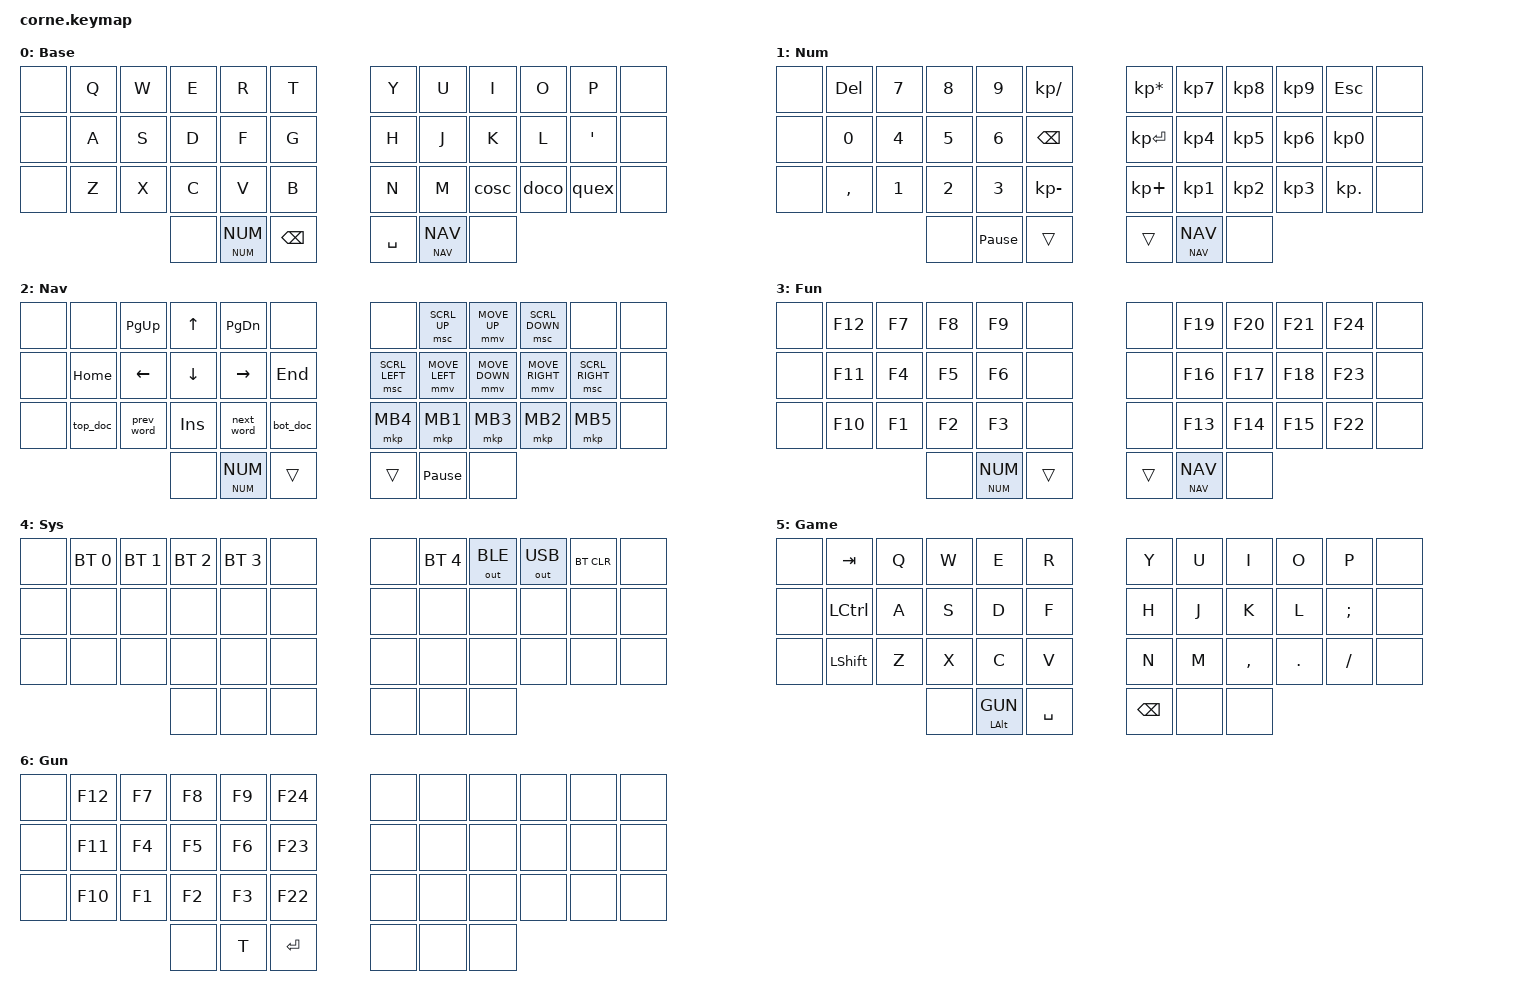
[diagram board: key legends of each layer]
#include <behaviors.dtsi>
#include <dt-bindings/zmk/keys.h>
#include <dt-bindings/zmk/bt.h>
#include <dt-bindings/zmk/outputs.h>
#include <dt-bindings/zmk/pointing.h>

#define BASE 0
#define NUM  1
#define NAV  2
#define FUN  3
#define SYS  4
#define GAME 5
#define GUN  6

#define XXX &none
#define ___ &trans

#define SMART_NUM &smart_num NUM NUM
#define SMART_NAV &smart_nav NAV NAV
#define SMART_FUN &smart_fun FUN FUN
#define SMART_GUN &smart_gun LALT GUN

&caps_word {
	continue-list = <UNDER MINUS SQT BSPC>;	
};

/ {
    macros {

	//	GENERAL SHORTCUTS
        copy: CTRL_C {
            compatible = "zmk,behavior-macro";
            #binding-cells = <0>;
            bindings
                = <&macro_press &kp LCTRL>
				, <&macro_tap &kp C>
                , <&macro_release &kp LCTRL>;
        };
        paste: CTRL_V {
            compatible = "zmk,behavior-macro";
            #binding-cells = <0>;
            bindings
                = <&macro_press &kp LCTRL &kp V>
                , <&macro_pause_for_release>
                , <&macro_release &kp V &kp LCTRL>;
        };
        cut: CTRL_X {
            compatible = "zmk,behavior-macro";
            #binding-cells = <0>;
            bindings
                = <&macro_press &kp LCTRL>
				, <&macro_tap &kp X>
                , <&macro_release &kp LCTRL>;
        };
		redo: CTRL_SHIFT_Z {
            compatible = "zmk,behavior-macro";
            #binding-cells = <0>;
            bindings
                = <&macro_press &kp RCTRL &kp RSHFT &kp Z>
                , <&macro_pause_for_release>
                , <&macro_release &kp Z &kp RSHFT &kp RCTRL>;
        };
		apps: CTRL_ALT_TAB {
            compatible = "zmk,behavior-macro";
            #binding-cells = <0>;
            bindings
                = <&macro_press &kp RCTRL &kp RALT>
				, <&macro_tap &kp TAB>
                , <&macro_release &kp RALT &kp RCTRL>;
        };
		undo: CTRL_Z {
            compatible = "zmk,behavior-macro";
            #binding-cells = <0>;
            bindings
                = <&macro_press &kp RCTRL &kp Z>
                , <&macro_pause_for_release>
                , <&macro_release &kp Z &kp RCTRL>;
        };

	//	NAVIGATION LAYER SHORTCUTS
        top_doc: CTRL_HOME {
            compatible = "zmk,behavior-macro";
            #binding-cells = <0>;
            bindings
                = <&macro_press &kp LCTRL>
				, <&macro_tap &kp HOME>
                , <&macro_release &kp LCTRL>;
        };
		bot_doc: CTRL_END {
            compatible = "zmk,behavior-macro";
            #binding-cells = <0>;
            bindings
                = <&macro_press &kp LCTRL>
				, <&macro_tap &kp END>
                , <&macro_release &kp LCTRL>;
		};
		prev_word: CTRL_LEFT {
            compatible = "zmk,behavior-macro";
            #binding-cells = <0>;
            bindings
                = <&macro_press &kp LCTRL &kp LEFT>
                , <&macro_pause_for_release>
                , <&macro_release &kp LEFT &kp LCTRL>;
		};
		next_word: CTRL_RIGHT {
            compatible = "zmk,behavior-macro";
            #binding-cells = <0>;
            bindings
                = <&macro_press &kp LCTRL &kp RIGHT>
                , <&macro_pause_for_release>
                , <&macro_release &kp RIGHT &kp LCTRL>;
		};

	//	SWITCH SMART LAYER
		swto: switch_to_layer {
            compatible = "zmk,behavior-macro-one-param";
            #binding-cells = <1>;
            bindings
                = <&macro_tap &kp PAUSE_BREAK>
				, <&macro_param_1to1>
				, <&macro_tap &to 0>;
		};
		swmo: switch_to_momentary_layer {
            compatible = "zmk,behavior-macro-one-param";
            #binding-cells = <1>;
            bindings
                = <&macro_tap &kp PAUSE_BREAK>
				, <&macro_param_1to1>
				, <&macro_press &mo 0>
                , <&macro_pause_for_release>
				, <&macro_param_1to1>
                , <&macro_release &mo 0>;
		};
		snmw: switch_to_num_word {
            compatible = "zmk,behavior-macro-one-param";
            #binding-cells = <1>;
            bindings
                = <&macro_tap &kp PAUSE_BREAK>
				, <&macro_param_1to1>
				, <&macro_tap &num_word 0>;
		};
		snvw: switch_to_nav_word {
            compatible = "zmk,behavior-macro-one-param";
            #binding-cells = <1>;
            bindings
                = <&macro_tap &kp PAUSE_BREAK>
				, <&macro_param_1to1>
				, <&macro_tap &nav_word 0>;
		};
		sfnw: switch_to_fun_word {
            compatible = "zmk,behavior-macro-one-param";
            #binding-cells = <1>;
            bindings
                = <&macro_tap &kp PAUSE_BREAK>
				, <&macro_param_1to1>
				, <&macro_tap &fun_word 0>;
		};
	};

	behaviors {

	//	SMART LAYERS
		num_word: number_layer_word {
			compatible = "zmk,behavior-auto-layer";
			#binding-cells = <1>;
			continue-list = <N1 N2 N3 N4 N5 N6 N7 N8 N9 N0 KP_N1 KP_N2 KP_N3 KP_N4 KP_N5 KP_N6 KP_N7 KP_N8 KP_N9 KP_N0	\
							 COMMA DEL BSPC ENTER ESC	   KP_MINUS KP_PLUS KP_DIVIDE KP_MULTIPLY KP_ENTER KP_DOT		\
							 EQUAL SLASH PRCNT HASH STAR CARET LPAR RPAR LBKT RBKT MINUS PLUS AT PIPE>;
			ignore-modifiers;
		};
		smart_num: number_layer_hold_tap {
			compatible = "zmk,behavior-hold-tap";
			#binding-cells = <2>;
            flavor = "hold-preferred";
            tapping-term-ms = <175>;
			bindings = <&swmo>, <&snmw>;
		};
		nav_word: navigation_layer_word {
			compatible = "zmk,behavior-auto-layer";
			#binding-cells = <1>;
			continue-list = <LEFT DOWN UP RIGHT PG_DN PG_UP HOME END>;
			ignore-modifiers;
		};
		smart_nav: navigation_layer_hold_tap {
			compatible = "zmk,behavior-hold-tap";
			#binding-cells = <2>;
            flavor = "hold-preferred";
            tapping-term-ms = <175>;
			bindings = <&swmo>, <&snvw>;
		};
		fun_word: function_layer_word {
			compatible = "zmk,behavior-auto-layer";
			#binding-cells = <1>;
			continue-list = <0>;
			ignore-modifiers;
		};
		smart_fun: function_layer_hold_tap {
			compatible = "zmk,behavior-hold-tap";
			#binding-cells = <2>;
            flavor = "hold-preferred";
            tapping-term-ms = <175>;
			bindings = <&swmo>, <&sfnw>;
		};
		gun_word: game_function_layer_word {
			compatible = "zmk,behavior-auto-layer";
			#binding-cells = <1>;
			continue-list = <0>;
		};
		smart_gun: game_function_layer_hold_tap {
			compatible = "zmk,behavior-hold-tap";
			#binding-cells = <2>;
            flavor = "hold-preferred";
            tapping-term-ms = <175>;
			bindings = <&kp>, <&gun_word>;
		};

	//	STICKY KEYS
		skqr: sticky_key_quick_release {
			compatible = "zmk,behavior-sticky-key";
			#binding-cells = <1>;
			bindings = <&kp>;
			release-after-ms = <1000>;
			quick-release;
			ignore-modifiers;
      };
		skql: sticky_key_quick_release_lazy {
			compatible = "zmk,behavior-sticky-key";
			#binding-cells = <1>;
			bindings = <&kp>;
			release-after-ms = <1000>;
			quick-release;
			lazy;
			ignore-modifiers;
      };

	//	SYMBOL MORPHS
		cosc: comma_semicolon {
            compatible = "zmk,behavior-mod-morph";
            #binding-cells = <0>;
            bindings = <&kp COMMA>, <&kp SEMI>;
            mods = <(MOD_LSFT|MOD_RSFT)>;
        };
		doco: dot_colon {
            compatible = "zmk,behavior-mod-morph";
            #binding-cells = <0>;
            bindings = <&kp DOT>, <&kp COLON>;
            mods = <(MOD_LSFT|MOD_RSFT)>;
        };
		quex: question_exclamation {
            compatible = "zmk,behavior-mod-morph";
            #binding-cells = <0>;
            bindings = <&kp QMARK>, <&kp EXCL>;
            mods = <(MOD_LSFT|MOD_RSFT)>;
        };
		eqti: equal_tilde {
            compatible = "zmk,behavior-mod-morph";
            #binding-cells = <0>;
            bindings = <&kp EQUAL >, <&kp TILDE>;
            mods = <(MOD_LSFT|MOD_RSFT)>;
        };
		slpe: slash_percent {
            compatible = "zmk,behavior-mod-morph";
            #binding-cells = <0>;
            bindings = <&kp SLASH>, <&kp PRCNT>;
            mods = <(MOD_LSFT|MOD_RSFT)>;
        };
		bsgr: backslash_grave {
            compatible = "zmk,behavior-mod-morph";
            #binding-cells = <0>;
            bindings = <&kp BSLH>, <&kp GRAVE>;
            mods = <(MOD_LSFT|MOD_RSFT)>;
        };
		hast: hash_star {
            compatible = "zmk,behavior-mod-morph";
            #binding-cells = <0>;
            bindings = <&kp HASH>, <&kp STAR>;
            mods = <(MOD_LSFT|MOD_RSFT)>;
        };
		usca: underscore_caret {
            compatible = "zmk,behavior-mod-morph";
            #binding-cells = <0>;
            bindings = <&kp UNDER>, <&kp CARET>;
            mods = <(MOD_LSFT|MOD_RSFT)>;
        };
		lplb: leftparenthesis_leftbracket {
            compatible = "zmk,behavior-mod-morph";
            #binding-cells = <0>;
            bindings = <&kp LPAR>, <&kp LBKT>;
            mods = <(MOD_LSFT|MOD_RSFT)>;
        };
		rprb: rightparenthesis_rightbracket {
            compatible = "zmk,behavior-mod-morph";
            #binding-cells = <0>;
            bindings = <&kp RPAR>, <&kp RBKT>;
            mods = <(MOD_LSFT|MOD_RSFT)>;
        };
		mipl: minus_plus {
            compatible = "zmk,behavior-mod-morph";
            #binding-cells = <0>;
            bindings = <&kp MINUS>, <&kp PLUS>;
            mods = <(MOD_LSFT|MOD_RSFT)>;
        };
		asat: ampersand_at {
            compatible = "zmk,behavior-mod-morph";
            #binding-cells = <0>;
            bindings = <&kp AMPS>, <&kp AT>;
            mods = <(MOD_LSFT|MOD_RSFT)>;
        };
		ltlb: lessthan_leftbrace {
            compatible = "zmk,behavior-mod-morph";
            #binding-cells = <0>;
            bindings = <&kp LT>, <&kp LBRC>;
            mods = <(MOD_LSFT|MOD_RSFT)>;
        };
		gtrb: greaterthan_rightbrace {
            compatible = "zmk,behavior-mod-morph";
            #binding-cells = <0>;
            bindings = <&kp GT>, <&kp RBRC>;
            mods = <(MOD_LSFT|MOD_RSFT)>;
        };
		pido: pipe_dollar {
            compatible = "zmk,behavior-mod-morph";
            #binding-cells = <0>;
            bindings = <&kp PIPE>, <&kp DLLR>;
            mods = <(MOD_LSFT|MOD_RSFT)>;
        };
    };

	combos {
		compatible = "zmk,combos";

	//	SYMBOL COMBOS
		combo_equal_tilde {
			timeout-ms = <50>;
			require-prior-idle-ms = <100>;
			key-positions = <2 3>;
			layers = <BASE NUM FUN>;
			bindings = <&eqti>;
		};
		combo_slash_percent {
			timeout-ms = <50>;
			require-prior-idle-ms = <100>;
			key-positions = <3 4>;
			layers = <BASE NUM FUN>;
			bindings = <&slpe>;
		};
		combo_backslash_grave {
			timeout-ms = <50>;
			require-prior-idle-ms = <100>;
			key-positions = <7 8>;
			layers = <BASE NUM FUN>;
			bindings = <&bsgr>;
		};
		combo_hash_star {
			timeout-ms = <50>;
			require-prior-idle-ms = <100>;
			key-positions = <8 9>;
			layers = <BASE NUM FUN>;
			bindings = <&hast>;
		};
		combo_underscore_caret {
			timeout-ms = <50>;
			require-prior-idle-ms = <100>;
			key-positions = <14 15>;
			layers = <BASE NUM FUN>;
			bindings = <&usca>;
		};
		combo_leftparenthesis_leftbracket {
			timeout-ms = <50>;
			require-prior-idle-ms = <100>;
			key-positions = <15 16>;
			layers = <BASE NUM FUN>;
			bindings = <&lplb>;
		};
		combo_rightparenthesis_rightbracket {
			timeout-ms = <50>;
			require-prior-idle-ms = <100>;
			key-positions = <19 20>;
			layers = <BASE NUM FUN>;
			bindings = <&rprb>;
		};
		combo_minus_plus {
			timeout-ms = <50>;
			require-prior-idle-ms = <100>;
			key-positions = <20 21>;
			layers = <BASE NUM FUN>;
			bindings = <&mipl>;
		};
		combo_ampersand_at {
			timeout-ms = <50>;
			require-prior-idle-ms = <100>;
			key-positions = <26 27>;
			layers = <BASE NUM FUN>;
			bindings = <&asat>;
		};
		combo_lessthan_leftbrace {
			timeout-ms = <50>;
			require-prior-idle-ms = <100>;
			key-positions = <27 28>;
			layers = <BASE NUM FUN>;
			bindings = <&ltlb>;
		};
		combo_greaterthan_rightbrace {
			timeout-ms = <50>;
			require-prior-idle-ms = <100>;
			key-positions = <31 32>;
			layers = <BASE NUM FUN>;
			bindings = <&gtrb>;
		};
		combo_pipe_dollar {
			timeout-ms = <50>;
			require-prior-idle-ms = <100>;
			key-positions = <32 33>;
			layers = <BASE NUM FUN>;
			bindings = <&pido>;
		};

	//	LAYER COMBOS
		combo_base_layer {
			timeout-ms = <50>;
			require-prior-idle-ms = <100>;
			key-positions = <13 14 15 16>;
			layers = <GAME GUN>;
			bindings = <&swto BASE>;
		};
		combo_function_layer {
			timeout-ms = <50>;
			require-prior-idle-ms = <100>;
			key-positions = <37 40>;
			layers = <BASE NUM NAV>;
			bindings = <SMART_FUN>;
		};
		combo_function_layer_cancel {
			timeout-ms = <50>;
			require-prior-idle-ms = <100>;
			key-positions = <37 40>;
			layers = <FUN>;
			bindings = <&kp PAUSE_BREAK>;
		};
		combo_system_layer {
			timeout-ms = <50>;
			require-prior-idle-ms = <100>;
			key-positions = <38 39>;
			layers = <BASE NUM NAV FUN>;
			bindings = <&swmo SYS>;
		};
		combo_game_layer {
			timeout-ms = <50>;
			require-prior-idle-ms = <100>;
			key-positions = <3 14 16 25>;
			layers = <BASE NUM NAV FUN>;
			bindings = <&swto GAME>;
		};

	//	MODIFIER COMBOS
		combo_left_control {
			timeout-ms = <50>;
			require-prior-idle-ms = <100>;
			key-positions = <16 38>;
			layers = <BASE NUM NAV FUN>;
			bindings = <&skql LCTRL>;
		};
		combo_right_control {
			timeout-ms = <50>;
			require-prior-idle-ms = <100>;
			key-positions = <19 39>;
			layers = <BASE NUM NAV FUN>;
			bindings = <&skql RCTRL>;
		};
		combo_left_shift {
			timeout-ms = <50>;
			require-prior-idle-ms = <100>;
			key-positions = <15 38>;
			layers = <BASE NUM NAV FUN>;
			bindings = <&skqr LSHFT>;
		};
		combo_right_shift {
			timeout-ms = <50>;
			require-prior-idle-ms = <100>;
			key-positions = <20 39>;
			layers = <BASE NUM NAV FUN>;
			bindings = <&skqr RSHFT>;
		};
		combo_caps_word {
			timeout-ms = <50>;
			require-prior-idle-ms = <100>;
			key-positions = <15 20 38 39>;
			layers = <BASE>;
			bindings = <&caps_word>;
		};
		combo_caps_lock {
			timeout-ms = <50>;
			require-prior-idle-ms = <100>;
			key-positions = <19 20 21 22>;
			layers = <BASE>;
			bindings = <&kp CAPS>;
		};
		combo_left_alt {
			timeout-ms = <50>;
			require-prior-idle-ms = <100>;
			key-positions = <14 38>;
			layers = <BASE NUM NAV FUN>;
			bindings = <&skql LALT>;
		};
		combo_right_alt {
			timeout-ms = <50>;
			require-prior-idle-ms = <100>;
			key-positions = <21 39>;
			layers = <BASE NUM NAV FUN>;
			bindings = <&skql RALT>;
		};
		combo_left_gui {
			timeout-ms = <50>;
			require-prior-idle-ms = <100>;
			key-positions = <13 38>;
			layers = <BASE NUM NAV FUN>;
			bindings = <&skql LGUI>;
		};
		combo_right_gui {
			timeout-ms = <50>;
			require-prior-idle-ms = <100>;
			key-positions = <22 39>;
			layers = <BASE NUM NAV FUN>;
			bindings = <&skql RGUI>;
		};
		combo_game_gui {
			timeout-ms = <50>;
			require-prior-idle-ms = <100>;
			key-positions = <14 15 16>;
			layers = <GAME>;
			bindings = <&kp LGUI>;
		};

	//	SHORTCUT COMBOS
		combo_copy {
			timeout-ms = <50>;
			require-prior-idle-ms = <100>;
			key-positions = <2 4>;
			layers = <BASE NUM NAV FUN>;
			bindings = <&copy>;
		};
		combo_paste {
			timeout-ms = <50>;
			require-prior-idle-ms = <100>;
			key-positions = <14 16>;
			layers = <BASE NUM NAV FUN>;
			bindings = <&paste>;
		};
		combo_cut {
			timeout-ms = <50>;
			require-prior-idle-ms = <100>;
			key-positions = <26 28>;
			layers = <BASE NUM NAV FUN>;
			bindings = <&cut>;
		};
		combo_redo {
			timeout-ms = <50>;
			require-prior-idle-ms = <100>;
			key-positions = <7 9>;
			layers = <BASE NUM NAV FUN>;
			bindings = <&redo>;
		};
		combo_apps {
			timeout-ms = <50>;
			require-prior-idle-ms = <100>;
			key-positions = <19 21>;
			layers = <BASE NUM NAV FUN>;
			bindings = <&apps>;
		};
		combo_undo {
			timeout-ms = <50>;
			require-prior-idle-ms = <100>;
			key-positions = <31 33>;
			layers = <BASE NUM NAV FUN>;
			bindings = <&undo>;
		};

	//	KEY PRESS COMBOS
		combo_tab {
			timeout-ms = <50>;
			require-prior-idle-ms = <100>;
			key-positions = <3 16>;
			layers = <BASE NUM NAV FUN>;
			bindings = <&kp TAB>;
		};
		combo_left_enter {
			timeout-ms = <50>;
			require-prior-idle-ms = <100>;
			key-positions = <3 14>;
			layers = <BASE NUM NAV FUN>;
			bindings = <&kp ENTER>;
		};
		combo_right_enter {
			timeout-ms = <50>;
			require-prior-idle-ms = <100>;
			key-positions = <8 19>;
			layers = <BASE NUM NAV FUN>;
			bindings = <&kp ENTER>;
		};
		combo_escape {
			timeout-ms = <50>;
			require-prior-idle-ms = <100>;
			key-positions = <8 21>;
			layers = <BASE NUM NAV FUN>;
			bindings = <&kp ESC>;
		};
		combo_game_escape {
			timeout-ms = <50>;
			require-prior-idle-ms = <100>;
			key-positions = <3 14 16>;
			layers = <GAME GUN>;
			bindings = <&kp ESC>;
		};
	};
};

/ {
        keymap {
                compatible = "zmk,keymap";
                base_layer {
                        display-name = "Base";
                        bindings = <
	XXX &kp Q &kp W &kp E &kp R &kp T &kp Y &kp U &kp I &kp O &kp P XXX
	XXX &kp A &kp S &kp D &kp F &kp G &kp H &kp J &kp K &kp L &kp SQT XXX
	XXX &kp Z &kp X &kp C &kp V &kp B &kp N &kp M &cosc &doco &quex XXX
    XXX SMART_NUM &kp BSPC &kp SPACE SMART_NAV XXX
                        >;
                };
				number_layer {
                        display-name = "Num";
                        bindings = <
	XXX &kp DEL &kp N7 &kp N8 &kp N9 &kp KP_SLASH &kp KP_MULTIPLY &kp KP_N7 &kp KP_N8 &kp KP_N9 &kp ESC XXX
	XXX &kp N0 &kp N4 &kp N5 &kp N6 &kp BSPC &kp KP_ENTER &kp KP_N4 &kp KP_N5 &kp KP_N6 &kp KP_N0 XXX
	XXX &kp COMMA &kp N1 &kp N2 &kp N3 &kp KP_MINUS &kp KP_PLUS &kp KP_N1 &kp KP_N2 &kp KP_N3 &kp KP_DOT XXX
	XXX &kp PAUSE_BREAK ___ ___ SMART_NAV XXX
                        >;
                };
				navigation_layer {
                        display-name = "Nav";
                        bindings = <
	XXX XXX &kp PG_UP &kp UP &kp PG_DN XXX XXX &msc SCRL_UP &mmv MOVE_UP &msc SCRL_DOWN XXX XXX
	XXX &kp HOME &kp LEFT &kp DOWN &kp RIGHT &kp END &msc SCRL_LEFT &mmv MOVE_LEFT &mmv MOVE_DOWN &mmv MOVE_RIGHT &msc SCRL_RIGHT XXX
	XXX &top_doc &prev_word &kp INS &next_word &bot_doc &mkp MB4 &mkp MB1 &mkp MB3 &mkp MB2 &mkp MB5 XXX
	XXX SMART_NUM ___ ___ &kp PAUSE_BREAK XXX
                        >;
                };
				function_layer {
                        display-name = "Fun";
                        bindings = <
	XXX &kp F12 &kp F7 &kp F8 &kp F9 XXX XXX &kp F19 &kp F20 &kp F21 &kp F24 XXX
	XXX &kp F11 &kp F4 &kp F5 &kp F6 XXX XXX &kp F16 &kp F17 &kp F18 &kp F23 XXX
	XXX &kp F10 &kp F1 &kp F2 &kp F3 XXX XXX &kp F13 &kp F14 &kp F15 &kp F22 XXX
	XXX SMART_NUM ___ ___ SMART_NAV XXX
                        >;
				};
				system_layer {
                        display-name = "Sys";
                        bindings = <
	XXX &bt BT_SEL 0 &bt BT_SEL 1 &bt BT_SEL 2 &bt BT_SEL 3 XXX XXX &bt BT_SEL 4 &out OUT_BLE &out OUT_USB &bt BT_CLR XXX
	XXX XXX XXX XXX XXX XXX XXX XXX XXX XXX XXX XXX
	XXX XXX XXX XXX XXX XXX XXX XXX XXX XXX XXX XXX
	XXX XXX XXX XXX XXX XXX
                        >;
				};
                game_layer {
                        display-name = "Game";
                        bindings = <
	XXX &kp TAB &kp Q &kp W &kp E &kp R &kp Y &kp U &kp I &kp O &kp P XXX
	XXX &kp LCTRL &kp A &kp S &kp D &kp F &kp H &kp J &kp K &kp L &kp SEMI XXX
	XXX &kp LSHFT &kp Z &kp X &kp C &kp V &kp N &kp M &kp COMMA &kp DOT &kp SLASH XXX
	XXX SMART_GUN &kp SPACE &kp BSPC XXX XXX
                        >;
                };
                game_function_layer {
                        display-name = "Gun";
                        bindings = <
	XXX &kp F12 &kp F7 &kp F8 &kp F9 &kp F24 XXX XXX XXX XXX XXX XXX
	XXX &kp F11 &kp F4 &kp F5 &kp F6 &kp F23 XXX XXX XXX XXX XXX XXX
	XXX &kp F10 &kp F1 &kp F2 &kp F3 &kp F22 XXX XXX XXX XXX XXX XXX
	XXX &kp T &kp ENTER XXX XXX XXX
                        >;
                };
		};
};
